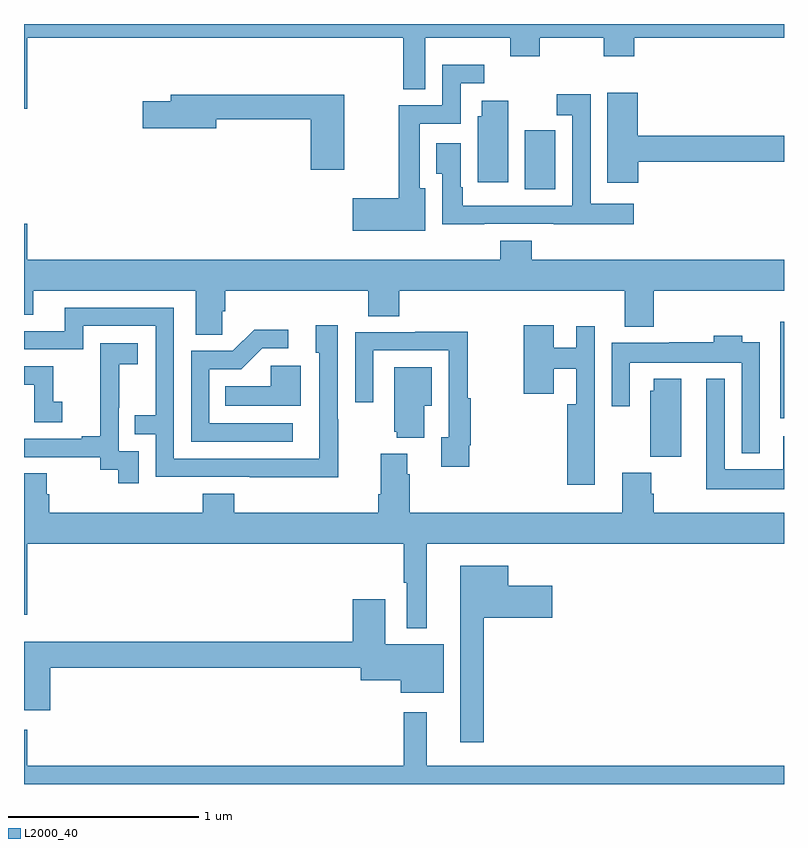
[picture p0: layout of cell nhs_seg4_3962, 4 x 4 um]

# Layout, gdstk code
import gdstk
lib = gdstk.Library(unit=1e-6, precision=1e-09)
def R(c, l, rs):  # rectangles x0, y0, x1, y1
    for r in rs: c.add(gdstk.rectangle(r[:2], r[2:], *l))
def P(c, l, *ps):  # polygons
    for p in ps: c.add(gdstk.Polygon(p, *l))
L2000_40 = (2000, 40)

nhs_seg4_3962 = lib.new_cell('nhs_seg4_3962')
R(nhs_seg4_3962, L2000_40, [(324.98,786.825,325,787.333), (323.636,788.029,323.797,788.34)])
P(nhs_seg4_3962, L2000_40, [(321.016,788.828),(322.995,788.828),(322.995,788.557),(323.113,788.557),(323.113,788.828),(323.56,788.828),(323.56,788.729),(323.715,788.729),(323.715,788.828),(324.052,788.828),(324.052,788.729),(324.212,788.729),(324.212,788.828),(325,788.828),(325,788.9),(321,788.9),(321,788.454),(321.016,788.454)],
  [(323.113,788.035),(323.083,788.035),(323.083,788.376),(323.298,788.376),(323.298,788.589),(323.422,788.589),(323.422,788.686),(323.202,788.686),(323.202,788.472),(322.972,788.472),(322.972,787.982),(322.731,787.982),(322.731,787.811),(323.113,787.811)],
  [(324.232,788.176),(325,788.176),(325,788.312),(324.23,788.312),(324.23,788.539),(324.071,788.539),(324.071,788.064),(324.232,788.064)],
  [(323.423,787.848),(323.789,787.848),(323.789,787.847),(324.208,787.847),(324.208,787.954),(323.982,787.954),(323.982,788.53),(323.805,788.53),(323.805,788.421),(323.886,788.421),(323.886,787.944),(323.31,787.944),(323.31,788.041),(323.298,788.041),(323.298,788.272),(323.171,788.272),(323.171,788.113),(323.202,788.113),(323.202,787.847),(323.423,787.847)],
  [(322.686,788.527),(321.773,788.527),(321.773,788.493),(321.624,788.493),(321.624,788.351),(322.012,788.351),(322.012,788.398),(322.508,788.398),(322.508,788.133),(322.686,788.133)],
  [(323.548,788.497),(323.408,788.497),(323.408,788.415),(323.387,788.415),(323.387,788.067),(323.548,788.067)],
  [(322.044,787.387),(322.058,787.387),(322.058,787.496),(322.811,787.496),(322.811,787.363),(322.976,787.363),(322.976,787.496),(324.161,787.496),(324.161,787.307),(324.314,787.307),(324.314,787.496),(325,787.496),(325,787.66),(323.672,787.66),(323.672,787.759),(323.507,787.759),(323.507,787.66),(321.016,787.66),(321.016,787.849),(321,787.849),(321,787.369),(321.049,787.369),(321.049,787.496),(321.905,787.496),(321.905,787.264),(322.044,787.264)],
  [(322.653,786.821),(322.65,786.821),(322.65,787.315),(322.535,787.315),(322.535,787.17),(322.554,787.17),(322.554,786.851),(322.553,786.851),(322.553,786.612),(321.789,786.612),(321.789,787.407),(321.215,787.407),(321.215,787.284),(321,787.284),(321,787.188),(321.312,787.188),(321.312,787.311),(321.693,787.311),(321.693,786.842),(321.583,786.842),(321.583,786.741),(321.693,786.741),(321.693,786.516),(322.189,786.516),(322.189,786.515),(322.653,786.515)],
  [(324.004,786.794),(324.003,786.794),(324.003,787.309),(323.907,787.309),(323.907,787.195),(323.788,787.195),(323.788,787.315),(323.63,787.315),(323.63,786.954),(323.788,786.954),(323.788,787.085),(323.907,787.085),(323.907,786.898),(323.858,786.898),(323.858,786.474),(324.004,786.474)],
  [(322.414,786.798),(321.975,786.798),(321.975,787.083),(322.144,787.083),(322.255,787.194),(322.39,787.194),(322.39,787.292),(322.211,787.292),(322.098,787.179),(321.879,787.179),(321.879,786.702),(322.414,786.702)],
  [(323.344,786.682),(323.351,786.682),(323.351,786.929),(323.336,786.929),(323.336,787.28),(323.059,787.28),(323.059,787.278),(322.743,787.278),(322.743,786.909),(322.839,786.909),(322.839,787.182),(323.235,787.182),(323.235,786.726),(323.195,786.726),(323.195,786.57),(323.344,786.57)],
  [(324.873,787.225),(324.781,787.225),(324.781,787.258),(324.629,787.258),(324.629,787.225),(324.397,787.225),(324.397,787.222),(324.093,787.222),(324.093,786.888),(324.189,786.888),(324.189,787.118),(324.777,787.118),(324.777,786.641),(324.873,786.641)],
  [(321.603,786.651),(321.498,786.651),(321.498,786.881),(321.5,786.881),(321.5,787.109),(321.598,787.109),(321.598,787.219),(321.4,787.219),(321.4,787.013),(321.401,787.013),(321.401,786.73),(321.305,786.73),(321.305,786.717),(321,786.717),(321,786.621),(321.402,786.621),(321.402,786.553),(321.495,786.553),(321.495,786.483),(321.603,786.483)],
  [(322.456,787.102),(322.299,787.102),(322.299,786.994),(322.06,786.994),(322.06,786.89),(322.456,786.89)],
  [(321.202,786.913),(321.153,786.913),(321.153,787.098),(321,787.098),(321,787.002),(321.054,787.002),(321.054,786.804),(321.202,786.804)],
  [(323.107,786.89),(323.146,786.89),(323.146,787.093),(322.949,787.093),(322.949,786.753),(322.961,786.753),(322.961,786.722),(323.107,786.722)],
  [(324.46,787.033),(324.314,787.033),(324.314,786.969),(324.296,786.969),(324.296,786.622),(324.46,786.622)],
  [(325,786.73),(324.996,786.73),(324.996,786.556),(324.687,786.556),(324.687,787.033),(324.59,787.033),(324.59,786.452),(325,786.452)],
  [(323.119,786.164),(325,786.164),(325,786.328),(324.314,786.328),(324.314,786.428),(324.301,786.428),(324.301,786.537),(324.149,786.537),(324.149,786.328),(323.03,786.328),(323.03,786.53),(323.017,786.53),(323.017,786.637),(322.877,786.637),(322.877,786.424),(322.865,786.424),(322.865,786.328),(322.106,786.328),(322.106,786.427),(321.941,786.427),(321.941,786.328),(321.134,786.328),(321.134,786.426),(321.121,786.426),(321.121,786.536),(321,786.536),(321,785.79),(321.016,785.79),(321.016,786.164),(322.998,786.164),(322.998,785.959),(323.015,785.959),(323.015,785.72),(323.119,785.72)],
  [(323.419,785.774),(323.779,785.774),(323.779,785.944),(323.548,785.944),(323.548,786.049),(323.297,786.049),(323.297,785.121),(323.419,785.121)],
  [(321.137,785.512),(322.772,785.512),(322.772,785.447),(322.982,785.447),(322.982,785.381),(323.209,785.381),(323.209,785.635),(322.9,785.635),(322.9,785.872),(322.73,785.872),(322.73,785.648),(321,785.648),(321,785.289),(321.137,785.289)],
  [(325,784.996),(323.119,784.996),(323.119,785.278),(322.998,785.278),(322.998,784.996),(321.016,784.996),(321.016,785.185),(321,785.185),(321,784.9),(325,784.9)])

lib.write_gds('nhs_seg4_3962.gds')
